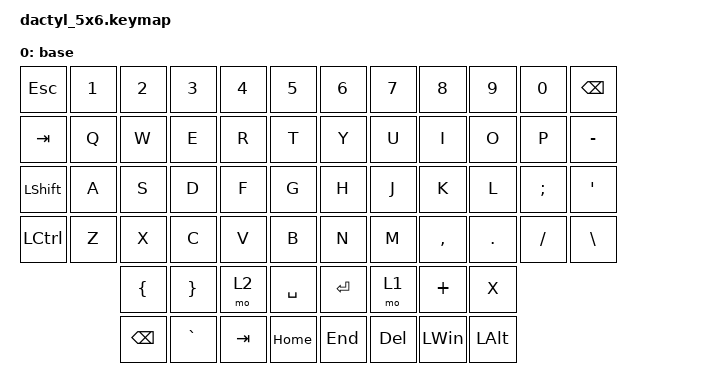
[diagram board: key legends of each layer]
#include <behaviors.dtsi>
#include <dt-bindings/zmk/keys.h>

// dt-formatter: indent = "  "
// dt-formatter: multilineIntegerCellsIndent = "reindent"
// dt-formatter: multilineListCommaStyle = "leading"

&sk { /delete-property/ ignore-modifiers; };

/ {
    conditional_layers {
      compatible = "zmk,conditional-layers";

      tri_layer {
        if-layers = <1 2>;
        then-layer = <3>;
      };
    };

    keymap {
      compatible = "zmk,keymap";

      base {
        bindings = <
          &kp ESC           &kp N1  &kp N2          &kp N3           &kp N4   &kp N5     &kp N6   &kp N7      &kp N8        &kp N9        &kp N0    &kp BSPC
          &kp TAB           &kp Q   &kp W           &kp E            &kp R    &kp T      &kp Y    &kp U       &kp I         &kp O         &kp P     &kp MINUS
          &kp LEFT_SHIFT    &kp A   &kp S           &kp D            &kp F    &kp G      &kp H    &kp J       &kp K         &kp L         &kp SEMI  &kp SQT
          &kp LEFT_CONTROL  &kp Z   &kp X           &kp C            &kp V    &kp B      &kp N    &kp M       &kp COMMA     &kp DOT       &kp FSLH  &kp BACKSLASH
                                    &kp LEFT_BRACE  &kp RIGHT_BRACE  &mo 2    &kp SPACE  &kp RET  &mo 1       &kp PLUS      &kp X
                                    &kp BACKSPACE   &kp GRAVE        &kp TAB  &kp HOME   &kp END  &kp DELETE  &kp LEFT_WIN  &kp LEFT_ALT
        >;

      layer_1 {
        bindings = <
          &kp F12  &kp F1    &kp F2  &kp F3    &kp F4     &kp F5    &kp F6    &kp F7  &kp F8  &kp F9  &kp F10  &kp F11
          &trans   &trans    &trans  &trans    &trans     &kp LBKT  &kp RBKT  &trans  &trans  &trans  &trans   &trans
          &trans   &kp LEFT  &kp UP  &kp DOWN  &kp RIGHT  &trans    &trans    &trans  &trans  &trans  &trans   &trans
          &trans   &trans    &trans  &trans    &trans     &trans    &trans    &trans  &trans  &trans  &trans   &trans
                            &trans  &trans    &trans     &trans    &trans    &trans  &trans  &trans
                            &trans  &trans    &trans     &trans    &trans    &trans  &trans  &trans
        >;
      };

      layer_2 {
        bindings = <
          &trans  &trans  &trans  &trans  &trans  &trans  &trans  &trans  &trans  &trans  &trans  &trans
          &trans  &trans  &trans  &trans  &trans  &trans  &trans  &trans  &trans  &trans  &trans  &trans
          &trans  &trans  &trans  &trans  &trans  &trans  &trans  &trans  &trans  &trans  &trans  &trans
          &trans  &trans  &trans  &trans  &trans  &trans  &trans  &trans  &trans  &trans  &trans  &trans
                          &trans  &trans  &trans  &trans  &trans  &trans  &trans  &trans
                          &trans  &trans  &trans  &trans  &trans  &trans  &trans  &trans
        >;
      };
    };
  };
};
